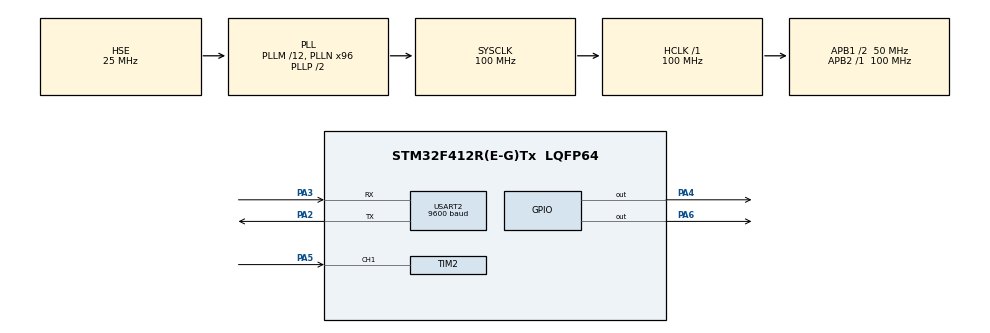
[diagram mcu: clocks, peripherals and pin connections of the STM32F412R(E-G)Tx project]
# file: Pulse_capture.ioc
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Dma.Request0=USART2_RX
Dma.Request1=USART2_TX
Dma.USART2_RX.0.Direction=DMA_PERIPH_TO_MEMORY
Dma.USART2_RX.0.FIFOMode=DMA_FIFOMODE_DISABLE
Dma.USART2_RX.0.Instance=DMA1_Stream5
Dma.USART2_RX.0.MemDataAlignment=DMA_MDATAALIGN_BYTE
Dma.USART2_RX.0.MemInc=DMA_MINC_ENABLE
Dma.USART2_RX.0.Mode=DMA_NORMAL
Dma.USART2_RX.0.PeriphDataAlignment=DMA_PDATAALIGN_BYTE
Dma.USART2_RX.0.PeriphInc=DMA_PINC_DISABLE
Dma.USART2_RX.0.Priority=DMA_PRIORITY_LOW
Dma.USART2_TX.1.Direction=DMA_MEMORY_TO_PERIPH
Dma.USART2_TX.1.FIFOMode=DMA_FIFOMODE_DISABLE
Dma.USART2_TX.1.Instance=DMA1_Stream6
Dma.USART2_TX.1.MemDataAlignment=DMA_MDATAALIGN_BYTE
Dma.USART2_TX.1.MemInc=DMA_MINC_ENABLE
Dma.USART2_TX.1.Mode=DMA_NORMAL
Dma.USART2_TX.1.PeriphDataAlignment=DMA_PDATAALIGN_BYTE
Dma.USART2_TX.1.PeriphInc=DMA_PINC_DISABLE
Dma.USART2_TX.1.Priority=DMA_PRIORITY_LOW
FREERTOS.Queues01=Pulse_Reception_Queue,5,uint8_t,0,Dynamic,NULL,NULL;Pulse_Sending_Queue,5,uint8_t,0,Dynamic,NULL,NULL
FREERTOS.Tasks01=defaultTask,24,128,StartDefaultTask,Default,NULL,Dynamic,NULL,NULL;Pulse_acquisitionTask,8,128,Pulse_acquisition,Default,NULL,Dynamic,NULL,NULL;ScreenTask,8,128,Screen,Default,NULL,Dynamic,NULL,NULL
FREERTOS.configMAX_TASK_NAME_LEN=32
Mcu.Family=STM32F4
Mcu.Name=STM32F412R(E-G)Tx
Mcu.Package=LQFP64
NVIC.DMA1_Stream5_IRQn=true\:5\:0\:false\:false\:true\:true\:false\:true\:true
NVIC.DMA1_Stream6_IRQn=true\:5\:0\:false\:false\:true\:true\:false\:true\:true
NVIC.PriorityGroup=NVIC_PRIORITYGROUP_4
NVIC.TIM1_UP_TIM10_IRQn=true\:15\:0\:false\:false\:true\:false\:false\:true\:true
NVIC.TIM2_IRQn=true\:5\:0\:false\:false\:true\:true\:true\:true\:true
NVIC.TimeBase=TIM1_UP_TIM10_IRQn
NVIC.TimeBaseIP=TIM1
NVIC.USART2_IRQn=true\:5\:0\:false\:false\:true\:true\:true\:true\:true
PA13.Mode=JTAG_5_pins
PA13.Signal=SYS_JTMS-SWDIO
PA14.Mode=JTAG_5_pins
PA14.Signal=SYS_JTCK-SWCLK
PA15.Mode=JTAG_5_pins
PA15.Signal=SYS_JTDI
PA2.Mode=Asynchronous
PA2.Signal=USART2_TX
PA3.Mode=Asynchronous
PA3.Signal=USART2_RX
PA4.Signal=GPIO_Output
PA5.Signal=S_TIM2_CH1_ETR
PA6.Signal=GPIO_Output
PB3.Mode=JTAG_5_pins
PB3.Signal=SYS_JTDO-SWO
PB4.Mode=JTAG_5_pins
PB4.Signal=SYS_JTRST
PH0\ -\ OSC_IN.Mode=HSE-External-Oscillator
PH0\ -\ OSC_IN.Signal=RCC_OSC_IN
PH1\ -\ OSC_OUT.Mode=HSE-External-Oscillator
PH1\ -\ OSC_OUT.Signal=RCC_OSC_OUT
ProjectManager.HeapSize=0x200
ProjectManager.StackSize=0x400
ProjectManager.TargetToolchain=MDK-ARM V5.32
RCC.AHBFreq_Value=100000000
RCC.APB1CLKDivider=RCC_HCLK_DIV2
RCC.APB1Freq_Value=50000000
RCC.APB1TimFreq_Value=100000000
RCC.APB2Freq_Value=100000000
RCC.APB2TimFreq_Value=100000000
RCC.CortexFreq_Value=100000000
RCC.HCLKFreq_Value=100000000
RCC.PLLM=12
RCC.PLLN=96
RCC.PLLSourceVirtual=RCC_PLLSOURCE_HSE
RCC.SYSCLKFreq_VALUE=100000000
RCC.SYSCLKSource=RCC_SYSCLKSOURCE_PLLCLK
RCC.USBFreq_Value=100000000
RCC.VCOOutputFreq_Value=200000000
SH.S_TIM2_CH1_ETR.0=TIM2_CH1,Input_Capture1_from_TI1
TIM2.Channel-Input_Capture1_from_TI1=TIM_CHANNEL_1
TIM2.ICPolarity_CH1=TIM_INPUTCHANNELPOLARITY_BOTHEDGE
TIM2.Period=999
TIM2.Prescaler=99
USART2.BaudRate=9600
USART2.VirtualMode=VM_ASYNC
VP_FREERTOS_VS_CMSIS_V2.Mode=CMSIS_V2
VP_SYS_VS_tim1.Mode=TIM1
board=custom

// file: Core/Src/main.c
/* USER CODE BEGIN Header */
/**
  ******************************************************************************
  * @file           : main.c
  * @brief          : Main program body
  ******************************************************************************
  * @attention
  *
  * Copyright (c) 2024 STMicroelectronics.
  * All rights reserved.
  *
  * This software is licensed under terms that can be found in the LICENSE file
  * in the root directory of this software component.
  * If no LICENSE file comes with this software, it is provided AS-IS.
  *
  ******************************************************************************
  */
/* USER CODE END Header */
#include "main.h"
#include "cmsis_os2.h"
#include "dma.h"
#include "tim.h"
#include "usart.h"
#include "gpio.h"

/* USER CODE BEGIN Includes */
#include "tjc_usart_hmi.h"
/* USER CODE END Includes */

void SystemClock_Config(void);
void MX_FREERTOS_Init(void);

int main(void)
{

  /* MCU Configuration--------------------------------------------------------*/

  /* Reset of all peripherals, Initializes the Flash interface and the Systick. */
  HAL_Init();

  /* Configure the system clock */
  SystemClock_Config();

  /* Initialize all configured peripherals */
  MX_GPIO_Init();
  MX_DMA_Init();
  MX_TIM2_Init();
  MX_USART2_UART_Init();
  /* USER CODE BEGIN 2 */
	HAL_TIM_IC_Start_IT(&htim2,TIM_CHANNEL_1);		//开启定时器2通道一的捕获中断
	__HAL_TIM_ENABLE_IT(&htim2,TIM_IT_UPDATE);   //使能更新中断
	initRingBuff();														//初始化环形缓存区
	HAL_UART_Receive_IT(&huart2,RxBuff,1);				//打开串口接收中断
	TJCPrintf("0x00");         							  //为确保串口HMI正常通信
  /* USER CODE END 2 */

  /* Init scheduler */
  osKernelInitialize();  /* Call init function for freertos objects (in freertos.c) */
  MX_FREERTOS_Init();

  /* Start scheduler */
  osKernelStart();

  /* We should never get here as control is now taken by the scheduler */
  /* Infinite loop */
  while (1)
  {

  }
}

void SystemClock_Config(void)
{
  RCC_OscInitTypeDef RCC_OscInitStruct = {0};
  RCC_ClkInitTypeDef RCC_ClkInitStruct = {0};

  /** Configure the main internal regulator output voltage
  */
  __HAL_RCC_PWR_CLK_ENABLE();
  __HAL_PWR_VOLTAGESCALING_CONFIG(PWR_REGULATOR_VOLTAGE_SCALE1);

  /** Initializes the RCC Oscillators according to the specified parameters
  * in the RCC_OscInitTypeDef structure.
  */
  RCC_OscInitStruct.OscillatorType = RCC_OSCILLATORTYPE_HSE;
  RCC_OscInitStruct.HSEState = RCC_HSE_ON;
  RCC_OscInitStruct.PLL.PLLState = RCC_PLL_ON;
  RCC_OscInitStruct.PLL.PLLSource = RCC_PLLSOURCE_HSE;
  RCC_OscInitStruct.PLL.PLLM = 12;
  RCC_OscInitStruct.PLL.PLLN = 96;
  RCC_OscInitStruct.PLL.PLLP = RCC_PLLP_DIV2;
  RCC_OscInitStruct.PLL.PLLQ = 2;
  RCC_OscInitStruct.PLL.PLLR = 2;
  if (HAL_RCC_OscConfig(&RCC_OscInitStruct) != HAL_OK)
  {
    Error_Handler();
  }

  /** Initializes the CPU, AHB and APB buses clocks
  */
  RCC_ClkInitStruct.ClockType = RCC_CLOCKTYPE_HCLK|RCC_CLOCKTYPE_SYSCLK
                              |RCC_CLOCKTYPE_PCLK1|RCC_CLOCKTYPE_PCLK2;
  RCC_ClkInitStruct.SYSCLKSource = RCC_SYSCLKSOURCE_PLLCLK;
  RCC_ClkInitStruct.AHBCLKDivider = RCC_SYSCLK_DIV1;
  RCC_ClkInitStruct.APB1CLKDivider = RCC_HCLK_DIV2;
  RCC_ClkInitStruct.APB2CLKDivider = RCC_HCLK_DIV1;

  if (HAL_RCC_ClockConfig(&RCC_ClkInitStruct, FLASH_LATENCY_3) != HAL_OK)
  {
    Error_Handler();
  }
}

/* USER CODE BEGIN 4 */
//void HAL_TIM_PeriodElapsedCallback(TIM_HandleTypeDef *htim)		//计数溢出回调函数
//{
//	if(TIM2 == htim->Instance)
//	{
//		if(IC_DONE_FLAG == 0)  // 未完成捕获
//		{
//			if(IC_START_FLAG == 1)  // 已经捕获到了高电平
//			{
//				IC_TIMES++;  // 捕获次数加一
//			}
//		}
//	}
//}

void HAL_TIM_IC_CaptureCallback(TIM_HandleTypeDef *htim)		//输入捕获回调函数
{
	if(TIM2 == htim->Instance)
	{
		if(IC_DONE_FLAG == 0)  // 未完成捕获
		{
			if(IC_START_FLAG == 1)  // 原来是高电平，现在捕获到一个下降沿
			{
				IC_VALUE = HAL_TIM_ReadCapturedValue(&htim2, TIM_CHANNEL_1);  // 获取捕获值
				TIM_RESET_CAPTUREPOLARITY(&htim2,TIM_CHANNEL_1);  //先清除原来的捕获极性
				TIM_SET_CAPTUREPOLARITY(&htim2,TIM_CHANNEL_1,TIM_ICPOLARITY_RISING);// 配置为上升沿捕获
				IC_START_FLAG = 0;  // 标志复位
				IC_DONE_FLAG = 1;  // 完成一次高电平捕获
			}
			else  // 捕获还未开始，第一次捕获到上升沿
			{
				IC_TIMES = 0;  // 捕获次数清零
				IC_VALUE = 0;  // 捕获值清零
				IC_START_FLAG = 1;  // 设置捕获到了上边沿的标志
				TIM_RESET_CAPTUREPOLARITY(&htim2,TIM_CHANNEL_1);  //先清除原来的捕获极性
				TIM_SET_CAPTUREPOLARITY(&htim2,TIM_CHANNEL_1,TIM_ICPOLARITY_FALLING);// 配置为下降沿捕获
			}
			__HAL_TIM_SET_COUNTER(&htim2,0);  // 定时器计数值清零
		}
	}

}
/* USER CODE END 4 */

void HAL_TIM_PeriodElapsedCallback(TIM_HandleTypeDef *htim)
{
  if (htim->Instance == TIM1) {
    HAL_IncTick();
  }
  /* USER CODE BEGIN Callback 1 */
	else if(TIM2 == htim->Instance)
	{
		if(IC_DONE_FLAG == 0)  // 未完成捕获
		{
			if(IC_START_FLAG == 1)  // 已经捕获到了高电平
			{
				IC_TIMES++;  // 捕获次数加一
			}
		}
	}
  /* USER CODE END Callback 1 */
}

void Error_Handler(void)
{
  __disable_irq();
  while (1)
  {
  }
}

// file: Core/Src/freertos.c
/* USER CODE BEGIN Header */
/**
  ******************************************************************************
  * File Name          : freertos.c
  * Description        : Code for freertos applications
  ******************************************************************************
  * @attention
  *
  * Copyright (c) 2024 STMicroelectronics.
  * All rights reserved.
  *
  * This software is licensed under terms that can be found in the LICENSE file
  * in the root directory of this software component.
  * If no LICENSE file comes with this software, it is provided AS-IS.
  *
  ******************************************************************************
  */
/* USER CODE END Header */

#include "FreeRTOS.h"
#include "task.h"
#include "main.h"
#include "cmsis_os.h"

/* USER CODE BEGIN Includes */
#include "tjc_usart_hmi.h"
/* USER CODE END Includes */

/* USER CODE BEGIN PTD */
uint32_t IC_TIMES;  		// 捕获次数，单位1ms
uint8_t IC_START_FLAG;  // 捕获开始标志，1：已捕获到高电平；0：还没有捕获到高电平
uint8_t IC_DONE_FLAG;  	// 捕获完成标志，1：已完成一次高电平捕获
uint16_t IC_VALUE;  		// 输入捕获的捕获值
/* USER CODE END PTD */

/* Definitions for defaultTask */
osThreadId_t defaultTaskHandle;
const osThreadAttr_t defaultTask_attributes = {
  .name = "defaultTask",
  .stack_size = 128 * 4,
  .priority = (osPriority_t) osPriorityNormal,
};
/* Definitions for Pulse_acquisitionTask */
osThreadId_t Pulse_acquisitionTaskHandle;
const osThreadAttr_t Pulse_acquisitionTask_attributes = {
  .name = "Pulse_acquisitionTask",
  .stack_size = 128 * 4,
  .priority = (osPriority_t) osPriorityLow,
};
/* Definitions for ScreenTask */
osThreadId_t ScreenTaskHandle;
const osThreadAttr_t ScreenTask_attributes = {
  .name = "ScreenTask",
  .stack_size = 128 * 4,
  .priority = (osPriority_t) osPriorityLow,
};
/* Definitions for Pulse_Reception_Queue */
osMessageQueueId_t Pulse_Reception_QueueHandle;
const osMessageQueueAttr_t Pulse_Reception_Queue_attributes = {
  .name = "Pulse_Reception_Queue"
};
/* Definitions for Pulse_Sending_Queue */
osMessageQueueId_t Pulse_Sending_QueueHandle;
const osMessageQueueAttr_t Pulse_Sending_Queue_attributes = {
  .name = "Pulse_Sending_Queue"
};

void StartDefaultTask(void *argument);
void Pulse_acquisition(void *argument);
void Screen(void *argument);

void MX_FREERTOS_Init(void); /* (MISRA C 2004 rule 8.1) */

void MX_FREERTOS_Init(void) {

  /* Create the queue(s) */
  /* creation of Pulse_Reception_Queue */
  Pulse_Reception_QueueHandle = osMessageQueueNew (5, 6*sizeof(uint8_t), &Pulse_Reception_Queue_attributes);

  /* creation of Pulse_Sending_Queue */
  Pulse_Sending_QueueHandle = osMessageQueueNew (5, 6*sizeof(uint8_t), &Pulse_Sending_Queue_attributes);

  /* Create the thread(s) */
  /* creation of defaultTask */
  defaultTaskHandle = osThreadNew(StartDefaultTask, NULL, &defaultTask_attributes);

  /* creation of Pulse_acquisitionTask */
  Pulse_acquisitionTaskHandle = osThreadNew(Pulse_acquisition, NULL, &Pulse_acquisitionTask_attributes);

  /* creation of ScreenTask */
  ScreenTaskHandle = osThreadNew(Screen, NULL, &ScreenTask_attributes);

}

void StartDefaultTask(void *argument)
{
  for(;;)
  {
    osDelay(1);
  }
}

void Pulse_acquisition(void *argument)
{
  /* USER CODE BEGIN Pulse_acquisition */
	uint32_t time = 0;
	uint8_t Pulse_Cycle_array[6];
  /* Infinite loop */
  for(;;)
  {
    osDelay(1);
		if(IC_DONE_FLAG == 1)  // 如果完成一次高电平捕获
		{
			IC_DONE_FLAG = 0;  // 标志清零
			time = IC_TIMES * 1000;  //脉冲时间为捕获次数 * 1000us
			time += IC_VALUE;  // 加上捕获时间（小于1ms的部分)
			Pulse_Cycle_array[0]=0x55;
			Pulse_Cycle_array[1]=time&0xff;
			Pulse_Cycle_array[2]=(time>>8)&0xff;
			Pulse_Cycle_array[3]=(time>>16)&0xff;
			Pulse_Cycle_array[4]=(time>>24)&0xff;
			Pulse_Cycle_array[5]=0xff;
			osMessageQueuePut(Pulse_Reception_QueueHandle,Pulse_Cycle_array,1,0);
		}
  }
  /* USER CODE END Pulse_acquisition */
}

void Screen(void *argument)
{
  /* USER CODE BEGIN Screen */
	uint32_t time=0;
	uint8_t status=0;
	uint8_t Cycle_Send_array[6];
  /* Infinite loop */
  for(;;)
  {
    osDelay(1);
		status=osMessageQueueGet(Pulse_Reception_QueueHandle,Cycle_Send_array,NULL,5000);
		if(status!=osOK)
		{
			TJCPrintf("tm0.en=\"%d\"",1);//打开屏幕数据复位定时器
		}
		else
		{
			if(Cycle_Send_array[0]==0x55&&Cycle_Send_array[5]==0xff)
			{
				time=Cycle_Send_array[1]|(Cycle_Send_array[2]<<8)|(Cycle_Send_array[3]<<16)|(Cycle_Send_array[4]<<24);
				TJCPrintf("t4.txt=\"%d\"",time);
				TJCPrintf("tm0.en=\"%d\"",0);//关闭屏幕数据复位定时器
			}
		}
  }
  /* USER CODE END Screen */
}
